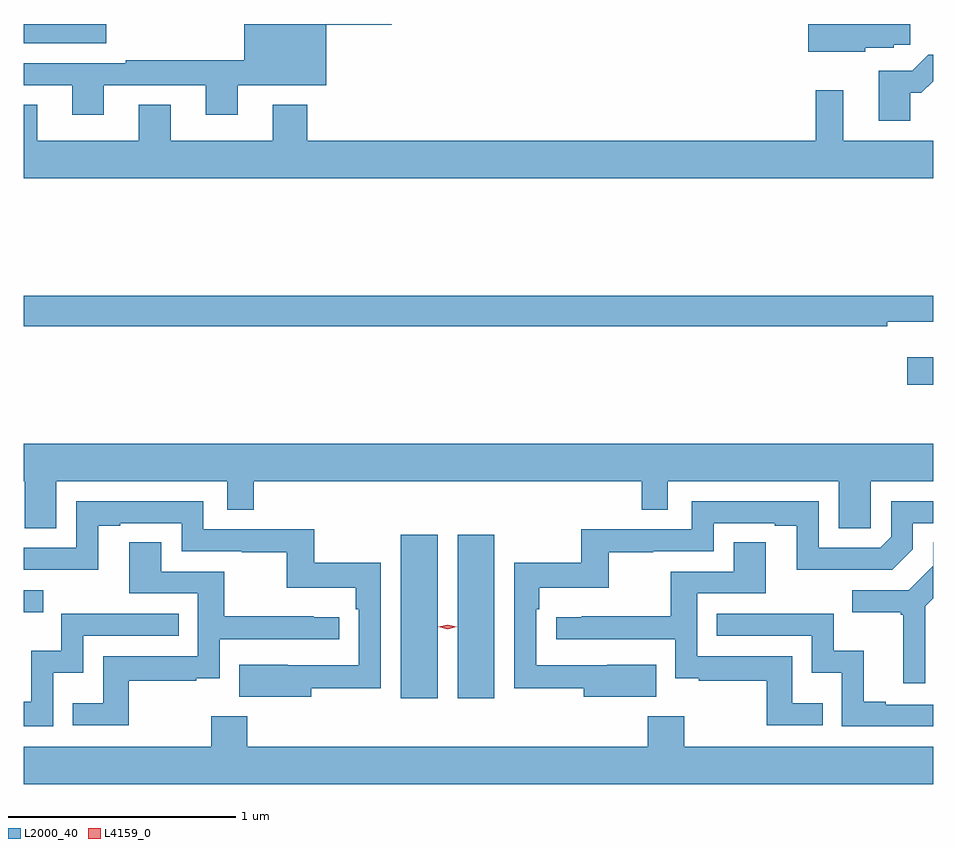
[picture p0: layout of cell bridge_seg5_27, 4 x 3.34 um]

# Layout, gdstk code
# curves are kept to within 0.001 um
import gdstk
lib = gdstk.Library(unit=1e-6, precision=1e-09)
def R(c, l, rs):  # rectangles x0, y0, x1, y1
    for r in rs: c.add(gdstk.rectangle(r[:2], r[2:], *l))
def P(c, l, *ps):  # polygons
    for p in ps: c.add(gdstk.Polygon(p, *l))
L2000_40 = (2000, 40)
L4159_0 = (4159, 0)

bridge_seg5_27 = lib.new_cell('bridge_seg5_27')
R(bridge_seg5_27, L2000_40, [(950.321,865.128,950.482,865.849), (950.57,865.128,950.731,865.849), (948.662,865.508,948.748,865.605), (952.548,866.507,952.662,866.629), (948.662,868.01,949.024,868.094)])
P(bridge_seg5_27, L2000_40, [(952.362,867.989),(952.488,867.989),(952.488,868.003),(952.561,868.003),(952.561,868.094),(952.112,868.094),(952.112,867.971),(952.362,867.971)],
  [(949.015,867.825),(949.463,867.825),(949.463,867.696),(949.603,867.696),(949.603,867.824),(949.993,867.824),(949.993,868.091),(950.281,868.091),(950.281,868.094),(949.631,868.094),(949.631,867.934),(949.111,867.934),(949.111,867.921),(948.662,867.921),(948.662,867.825),(948.875,867.825),(948.875,867.696),(949.015,867.696)],
  [(952.561,867.791),(952.61,867.791),(952.662,867.843),(952.662,867.959),(952.64,867.959),(952.569,867.888),(952.421,867.888),(952.421,867.669),(952.561,867.669)],
  [(952.662,867.58),(952.267,867.58),(952.267,867.802),(952.146,867.802),(952.146,867.58),(949.91,867.58),(949.91,867.739),(949.757,867.739),(949.757,867.58),(949.309,867.58),(949.309,867.74),(949.169,867.74),(949.169,867.58),(948.721,867.58),(948.721,867.74),(948.662,867.74),(948.662,867.416),(952.662,867.416)],
  [(952.46,866.784),(952.662,866.784),(952.662,866.9),(948.662,866.9),(948.662,866.764),(952.46,866.764)],
  [(948.805,866.084),(949.557,866.084),(949.557,865.957),(949.673,865.957),(949.673,866.084),(951.379,866.084),(951.379,865.957),(951.495,865.957),(951.495,866.084),(952.247,866.084),(952.247,865.876),(952.386,865.876),(952.386,866.084),(952.662,866.084),(952.662,866.248),(948.662,866.248),(948.662,866.084),(948.666,866.084),(948.666,865.876),(948.805,865.876)],
  [(951.443,865.276),(950.916,865.275),(950.916,865.52),(950.93,865.52),(950.93,865.616),(951.235,865.616),(951.235,865.771),(951.431,865.771),(951.431,865.776),(951.696,865.776),(951.696,865.899),(951.965,865.899),(951.965,865.887),(952.061,865.887),(952.061,865.694),(952.482,865.695),(952.572,865.785),(952.572,865.899),(952.662,865.899),(952.662,865.995),(952.476,865.995),(952.476,865.839),(952.428,865.791),(952.158,865.791),(952.158,865.995),(951.6,865.995),(951.6,865.872),(951.114,865.872),(951.114,865.726),(950.82,865.726),(950.82,865.174),(951.125,865.174),(951.125,865.136),(951.443,865.136)],
  [(949.927,865.174),(950.232,865.174),(950.232,865.726),(949.939,865.726),(949.939,865.872),(949.452,865.872),(949.452,865.995),(948.894,865.995),(948.894,865.791),(948.662,865.791),(948.662,865.695),(948.786,865.695),(948.786,865.694),(948.991,865.694),(948.991,865.887),(949.087,865.887),(949.087,865.899),(949.356,865.899),(949.356,865.776),(949.621,865.776),(949.621,865.771),(949.818,865.771),(949.818,865.616),(950.123,865.616),(950.123,865.52),(950.136,865.52),(950.136,865.275),(949.823,865.275),(949.823,865.276),(949.609,865.276),(949.609,865.136),(949.927,865.136)],
  [(952.626,865.533),(952.662,865.569),(952.662,865.814),(952.661,865.712),(952.554,865.605),(952.305,865.605),(952.305,865.508),(952.518,865.508),(952.518,865.497),(952.529,865.497),(952.529,865.194),(952.626,865.194)],
  [(949.123,865.206),(949.421,865.206),(949.421,865.217),(949.524,865.217),(949.524,865.389),(950.05,865.389),(950.05,865.485),(949.937,865.485),(949.937,865.49),(949.544,865.49),(949.544,865.686),(949.267,865.686),(949.267,865.814),(949.127,865.814),(949.127,865.59),(949.428,865.59),(949.428,865.314),(949.012,865.314),(949.012,865.108),(948.877,865.108),(948.877,865.011),(949.123,865.011)],
  [(952.175,865.108),(952.041,865.108),(952.041,865.314),(951.624,865.314),(951.624,865.59),(951.925,865.59),(951.925,865.814),(951.785,865.814),(951.785,865.686),(951.508,865.686),(951.508,865.49),(951.115,865.49),(951.115,865.485),(951.003,865.485),(951.003,865.389),(951.528,865.389),(951.528,865.217),(951.631,865.217),(951.631,865.206),(951.93,865.206),(951.93,865.011),(952.175,865.011)],
  [(948.792,865.241),(948.924,865.241),(948.924,865.404),(949.343,865.404),(949.343,865.5),(948.828,865.5),(948.828,865.339),(948.695,865.339),(948.695,865.114),(948.662,865.114),(948.662,865.005),(948.792,865.005)],
  [(952.662,865.101),(952.453,865.101),(952.453,865.114),(952.357,865.114),(952.357,865.339),(952.224,865.339),(952.224,865.5),(951.709,865.5),(951.709,865.404),(952.128,865.404),(952.128,865.241),(952.26,865.241),(952.26,865.005),(952.662,865.005)],
  [(952.662,864.916),(951.567,864.916),(951.567,865.051),(951.407,865.051),(951.407,864.916),(949.646,864.916),(949.646,865.051),(949.486,865.051),(949.486,864.916),(948.662,864.916),(948.662,864.752),(952.662,864.752)])
P(bridge_seg5_27, L4159_0, [(950.526,865.433),(950.486,865.443),(950.486,865.443),(950.486,865.443),(950.526,865.453),(950.566,865.443),(950.566,865.443),(950.566,865.443)])

lib.write_gds('bridge_seg5_27.gds')
